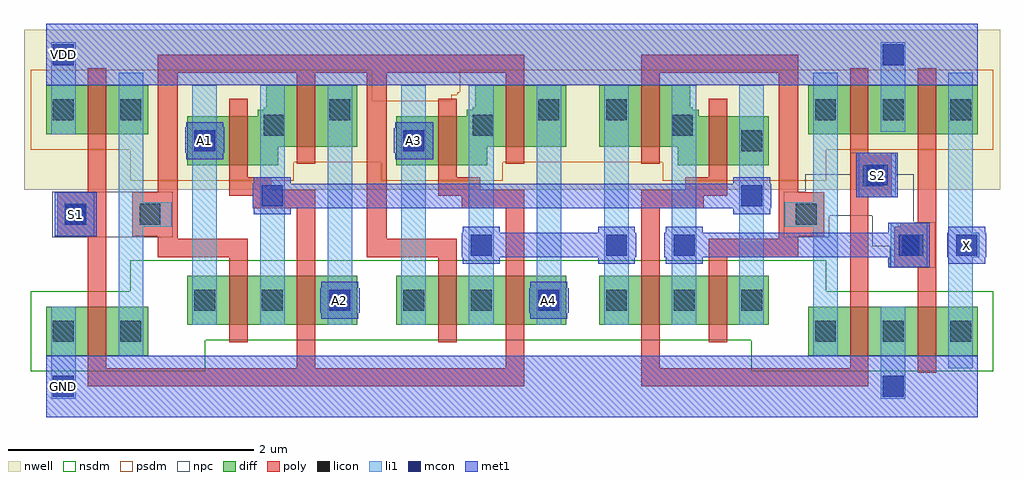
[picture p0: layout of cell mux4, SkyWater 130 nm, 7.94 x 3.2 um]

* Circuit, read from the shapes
.subckt mux4 A1 A2 A3 A4 GND S1 S2 VDD X
XM1 n1 S1 GND VSUBS sky130_fd_pr__nfet_01v8 w=0.4 l=0.15
XM2 n2 n1 A1 VSUBS sky130_fd_pr__nfet_01v8 w=0.4 l=0.15
XM3 A2 S1 n2 VSUBS sky130_fd_pr__nfet_01v8 w=0.4 l=0.15
XM4 n3 n1 A3 VSUBS sky130_fd_pr__nfet_01v8 w=0.4 l=0.15
XM5 A4 S1 n3 VSUBS sky130_fd_pr__nfet_01v8 w=0.4 l=0.15
XM6 n4 S2 n3 VSUBS sky130_fd_pr__nfet_01v8 w=0.4 l=0.15
XM7 n2 n5 n4 VSUBS sky130_fd_pr__nfet_01v8 w=0.4 l=0.15
XM8 GND S2 n5 VSUBS sky130_fd_pr__nfet_01v8 w=0.4 l=0.15
XM9 X n4 GND VSUBS sky130_fd_pr__nfet_01v8 w=0.4 l=0.15
XM10 n1 S1 VDD n6 sky130_fd_pr__pfet_01v8 w=0.4 l=0.15
XM11 n2 S1 A1 n6 sky130_fd_pr__pfet_01v8 w=0.4 l=0.15
XM12 A2 n1 n2 n6 sky130_fd_pr__pfet_01v8 w=0.5 l=0.15
XM13 n3 S1 A3 n6 sky130_fd_pr__pfet_01v8 w=0.4 l=0.15
XM14 A4 n1 n3 n6 sky130_fd_pr__pfet_01v8 w=0.5 l=0.15
XM15 n4 n5 n3 n6 sky130_fd_pr__pfet_01v8 w=0.5 l=0.15
XM16 n2 S2 n4 n6 sky130_fd_pr__pfet_01v8 w=0.4 l=0.15
XM17 VDD S2 n5 n6 sky130_fd_pr__pfet_01v8 w=0.4 l=0.15
XM18 X n4 VDD n6 sky130_fd_pr__pfet_01v8 w=0.4 l=0.15
.ends

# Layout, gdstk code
import gdstk
lib = gdstk.Library(unit=1e-6, precision=1e-09)
def R(c, l, rs):  # rectangles x0, y0, x1, y1
    for r in rs: c.add(gdstk.rectangle(r[:2], r[2:], *l))
def A(c, l, x, y, w, h, nx, ny, dx, dy):  # array of equal rectangles
    R(c, l, [(x+i*dx, y+j*dy, x+i*dx+w, y+j*dy+h) for i in range(nx) for j in range(ny)])
nwell = (64, 20)
diff = (65, 20)
poly = (66, 20)
licon = (66, 44)
li1 = (67, 20)
mcon = (67, 44)
met1 = (68, 20)
nsdm = (93, 44)
psdm = (94, 20)
npc = (95, 20)

mux4 = lib.new_cell('mux4')
R(mux4, nwell, [(-0.17,1.85,7.77,3.15)])
R(mux4, diff, [(0.01,0.5,0.84,0.9), (6.21,0.5,7.59,0.9), (1.16,0.75,2.54,1.15), (2.86,0.75,4.24,1.15), (4.51,0.75,5.89,1.15), (1.16,2.05,1.9,2.2), (2.86,2.05,3.6,2.2), (5.15,2.05,5.89,2.2), (1.16,2.2,2.54,2.45), (2.86,2.2,4.24,2.45), (4.51,2.2,5.89,2.45), (0.01,2.3,0.84,2.7), (6.21,2.3,7.59,2.7), (1.73,2.45,2.54,2.5), (3.43,2.45,4.24,2.5), (4.51,2.45,5.32,2.5), (1.78,2.5,2.54,2.52), (3.48,2.5,4.24,2.52), (4.51,2.5,5.27,2.52), (1.8,2.52,2.54,2.7), (3.5,2.52,4.24,2.7), (4.51,2.52,5.25,2.7)])
R(mux4, poly, [(0.35,0.25,3.9,0.4), (4.85,0.25,6.7,0.4), (7.1,0.36,7.25,1.22), (0.35,0.4,0.5,1.47), (2.05,0.4,2.2,1.7), (3.75,0.4,3.9,1.7), (4.85,0.4,5,1.7), (6.55,0.4,6.7,1.79), (1.5,0.61,1.65,1.3), (3.2,0.61,3.35,1.3), (5.4,0.61,5.55,1.3), (6.91,1.22,7.25,1.55), (0.92,1.3,1.65,1.45), (2.62,1.3,3.35,1.45), (5.4,1.3,6.13,1.45), (0.92,1.45,1.08,1.47), (2.62,1.45,2.78,2.8), (5.97,1.45,6.13,1.47), (0.1,1.47,0.5,1.83), (0.71,1.47,1.08,1.83), (5.97,1.47,6.34,1.83), (6.96,1.55,7.25,1.58), (7.1,1.58,7.25,2.84), (1.69,1.7,2.2,1.8), (3.39,1.7,3.9,1.8), (4.85,1.7,5.36,1.8), (6.55,1.79,6.89,2.15), (1.5,1.8,2.2,1.85), (3.2,1.8,3.9,1.85), (4.85,1.8,5.55,1.85), (0.35,1.83,0.5,2.84), (0.92,1.83,1.08,2.8), (5.97,1.83,6.13,2.8), (1.5,1.85,1.84,1.95), (3.2,1.85,3.54,1.95), (5.21,1.85,5.55,1.95), (1.5,1.95,1.65,2.59), (3.2,1.95,3.35,2.59), (5.4,1.95,5.55,2.59), (2.05,2.06,2.2,2.8), (3.75,2.06,3.9,2.8), (4.85,2.06,5,2.8), (6.55,2.15,6.7,2.84), (0.92,2.8,3.9,2.95), (4.85,2.8,6.13,2.95)])
A(mux4, licon, 6.265, 0.615, 0.17, 0.17, 3, 2, 0.55, 1.8)
A(mux4, licon, 1.215, 0.865, 0.17, 0.17, 3, 1, 0.55, 0)
A(mux4, licon, 2.915, 0.865, 0.17, 0.17, 6, 1, 0.55, 0)
A(mux4, licon, 0.615, 2.415, 0.17, 0.17, 3, 1, 1.7, 0)
R(mux4, licon, [(0.065,0.615,0.235,0.785), (0.615,0.615,0.785,0.785), (6.975,1.315,7.145,1.485), (0.16,1.565,0.33,1.735), (0.77,1.565,0.94,1.735), (6.11,1.565,6.28,1.735), (6.655,1.88,6.825,2.05), (1.215,2.165,1.385,2.335), (2.915,2.165,3.085,2.335), (5.665,2.165,5.835,2.335), (1.78,2.29,1.95,2.46), (3.48,2.29,3.65,2.46), (5.1,2.29,5.27,2.46), (0.065,2.415,0.235,2.585), (4.565,2.415,4.735,2.585)])
A(mux4, li1, 1.2, 0.75, 0.2, 1.95, 3, 1, 0.55, 0)
A(mux4, li1, 2.9, 0.75, 0.2, 1.95, 6, 1, 0.55, 0)
R(mux4, li1, [(0.05,0.15,0.25,0.9), (6.8,0.15,7,0.9), (7.35,0.4,7.55,1.3), (0.6,0.5,0.8,1.55), (6.25,0.5,6.45,1.55), (6.88,1.22,7.18,1.58), (7.35,1.3,7.6,1.5), (0.1,1.47,0.4,1.83), (7.35,1.5,7.55,2.8), (0.6,1.55,1.03,1.75), (6.02,1.55,6.45,1.75), (0.6,1.75,0.8,2.8), (6.25,1.75,6.45,2.8), (6.62,1.79,6.92,2.15), (0.05,2.3,0.25,3.05), (6.8,2.32,7,3.05)])
R(mux4, mcon, [(0.065,0.165,0.235,0.335), (6.815,0.165,6.985,0.335), (2.315,0.865,2.485,1.035), (4.015,0.865,4.185,1.035), (3.465,1.315,3.635,1.485), (4.565,1.315,4.735,1.485), (5.115,1.315,5.285,1.485), (6.945,1.315,7.115,1.485), (7.415,1.315,7.585,1.485), (0.165,1.565,0.335,1.735), (1.765,1.715,1.935,1.885), (5.665,1.715,5.835,1.885), (6.685,1.885,6.855,2.055), (1.215,2.165,1.385,2.335), (2.915,2.165,3.085,2.335), (0.065,2.865,0.235,3.035), (6.815,2.865,6.985,3.035)])
R(mux4, met1, [(0.01,0,7.59,0.5), (2.25,0.8,2.55,0.85), (3.95,0.8,4.25,0.85), (2.24,0.85,2.56,1.05), (3.94,0.85,4.26,1.05), (2.25,1.05,2.55,1.1), (3.95,1.05,4.25,1.1), (6.86,1.22,7.2,1.3), (3.4,1.25,3.7,1.3), (4.5,1.25,4.8,1.3), (5.05,1.25,5.35,1.3), (7.35,1.25,7.65,1.3), (3.39,1.3,4.81,1.5), (5.04,1.3,7.2,1.5), (7.34,1.3,7.66,1.5), (0.08,1.47,0.42,1.83), (3.4,1.5,3.7,1.55), (4.5,1.5,4.8,1.55), (5.05,1.5,5.35,1.55), (6.86,1.5,7.2,1.58), (7.35,1.5,7.65,1.55), (1.7,1.65,2,1.7), (5.6,1.65,5.9,1.7), (1.69,1.7,5.91,1.9), (6.6,1.79,6.94,2.15), (1.7,1.9,2,1.95), (5.6,1.9,5.9,1.95), (1.15,2.1,1.45,2.15), (2.85,2.1,3.16,2.15), (1.14,2.15,1.46,2.36), (2.84,2.15,3.16,2.35), (2.85,2.35,3.16,2.4), (1.15,2.36,1.45,2.4), (0.01,2.7,7.59,3.2)])
R(mux4, nsdm, [(-0.115,0.375,1.305,0.625), (5.745,0.375,7.715,0.625), (-0.115,0.625,7.715,1.025), (0.695,1.025,6.355,1.275)])
R(mux4, psdm, [(0.695,1.925,2.025,2.075), (2.735,1.925,3.725,2.075), (5.025,1.925,6.355,2.075), (0.695,2.075,6.355,2.175), (-0.115,2.175,7.715,2.575), (-0.115,2.575,2.665,2.825), (3.305,2.575,7.715,2.625), (3.355,2.625,7.715,2.645), (3.375,2.645,7.715,2.825)])
R(mux4, npc, [(6.875,1.215,7.245,1.39), (6.73,1.39,7.245,1.585), (0.06,1.465,1.04,1.835), (6.01,1.465,6.38,1.64), (6.73,1.585,7.07,1.64), (6.01,1.64,7.07,1.835), (6.185,1.835,7.07,1.975), (6.555,1.975,6.925,2.15)])
mux4.add(gdstk.Label('VDD', (0.15,2.95), layer=68, texttype=16))
mux4.add(gdstk.Label('GND', (0.15,0.25), layer=68, texttype=16))
mux4.add(gdstk.Label('A1', (1.3,2.25), layer=68, texttype=16))
mux4.add(gdstk.Label('S1', (0.25,1.65), layer=68, texttype=16))
mux4.add(gdstk.Label('A2', (2.4,0.95), layer=68, texttype=16))
mux4.add(gdstk.Label('A3', (3,2.25), layer=68, texttype=16))
mux4.add(gdstk.Label('A4', (4.1,0.95), layer=68, texttype=16))
mux4.add(gdstk.Label('S2', (6.77,1.97), layer=68, texttype=16))
mux4.add(gdstk.Label('X', (7.5,1.4), layer=68, texttype=16))

lib.write_gds('mux4.gds')
